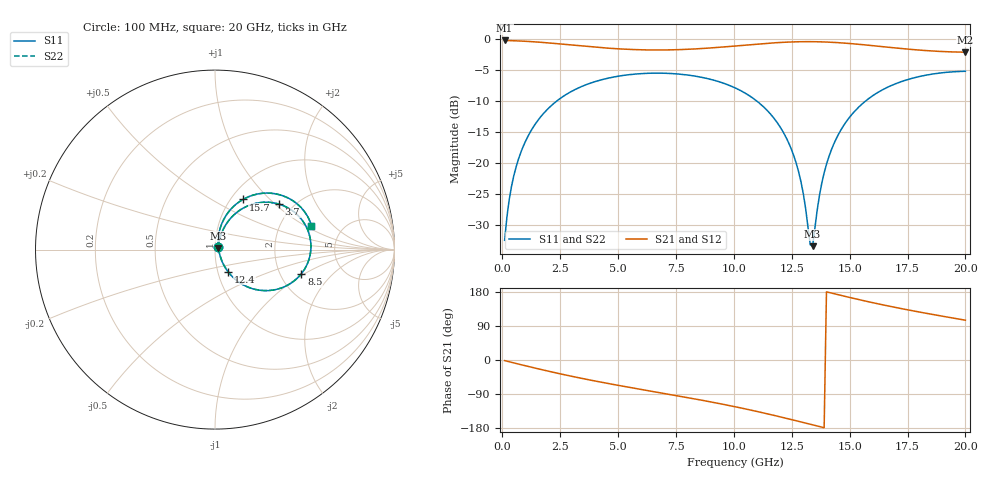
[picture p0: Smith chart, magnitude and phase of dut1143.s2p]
! Touchstone file exported from HFSS 2026.1.0
!  File:  C:/ffzhzh/LocalFiles/Ansys_Project_Files/temp_train_TSV_RDL_1143_1783309664_5512.aedt
!  Generated:  11:57:24 AM Jul  6, 2026
!  Design:  TSV_RDL
!  Project:  temp_train_TSV_RDL_1143_1783309664_5512
! Variables:
!  h_bsmrdl = 4.97um
!  h_ox = 20um
!  h_rdl = 5um
!  h_sub = 85.12um
!  h_tmrdl = 3.42um
!  h_tsv = 85.12um
!  h_via = 3um
!  l_bsmrdl = 177.04um
!  l_sub = 4128.35um
!  l_tmrdl = 763.15um
!  m_sub = 200um
!  pitch = 57.85um
!  r_tsv = 13.93um
!  s_tmrdl = 10um
!  w_bsmrdl = 27.67um
!  w_sub = 500um
!  w_tmrdl = 20.54um
!  x_tsv_center1 = 773.42um
!  x_tsv_center2 = 978.13um
!  x_tsv_center3 = 1761.82um
!  x_tsv_center4 = 1966.53um
!  x_tsv_center5 = 2750.22um
!  x_tsv_center6 = 2954.93um
# GHz S MA R 50.000000
! Terminal data exported
! Port[1] = TM_RDL1_1_T1
! Port[2] = TM_RDL5_1_T1
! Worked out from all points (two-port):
!   200 points, 100 MHz to 20 GHz, reference 50 ohm
!   highest |S21| = -0.16 dB at 100 MHz (marker M1); lowest = -2.0 dB at 20 GHz (marker M2)
!   |S21| within 3 dB of the highest: start of sweep to end of sweep
!   lowest |S11| = -33.4 dB at 13.4 GHz (marker M3), VSWR 1.04, Z = 52 + j0.964 ohm
!   |S11| at or under -10 dB: start of sweep to 2.33 GHz; 11.01 GHz to 15.67 GHz (4.655 GHz wide, 34.9 % of centre)
!   |S22| runs from -33.2 to -5.1 dB; largest |S21 - S12| = 1.7e-14
!   S11 on the Smith chart (normalised r, x): 100 MHz: 1.04, +0.03; 3.7 GHz: 1.69, +1.06; 8.5 GHz: 2.61, -0.94; 12.4 GHz: 1.12, -0.28; 15.7 GHz: 1.14, +0.71; 20 GHz: 2.99, +1.16
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0.1  0.02393 41.2  0.9823 -1.6  0.9823 -1.6  0.02393 41.2
! Gamma 0 0 0 0
! Port Impedance 50 0 50 0
0.3  0.05118 63.5  0.9798 -4.7  0.9798 -4.7  0.05118 63.5
0.5  0.0799 67.6  0.9768 -7.8  0.9768 -7.8  0.0799 67.6
1.1  0.1642 65.7  0.965 -16.7  0.965 -16.7  0.1642 65.7
2.1  0.2907 54.6  0.9347 -31.1  0.9347 -31.1  0.2907 54.6
3.5  0.4229 37.7  0.8838 -49.3  0.8838 -49.3  0.4229 37.7
3.7  0.4372 35.4  0.877 -51.8  0.877 -51.8  0.4372 35.4
5.3  0.515 17.8  0.8351 -70.1  0.8351 -70.1  0.515 17.8
6.8  0.535 2.2  0.8228 -86.3  0.8228 -86.3  0.535 2.2
8.5  0.4997 -15.6  0.8427 -104.8  0.8427 -104.8  0.4996 -15.6
10.1  0.4031 -33.7  0.888 -123.9  0.888 -123.9  0.4031 -33.6
11.5  0.2603 -50.5  0.9334 -142.8  0.9334 -142.8  0.2603 -50.4
12.4  0.1419 -59.5  0.954 -155.9  0.954 -155.9  0.1419 -59.4
12.9  0.07093 -58.5  0.9597 -163.4  0.9597 -163.4  0.07101 -58.1
13.3  0.02201 -13.3  0.9605 -169.5  0.9605 -169.5  0.0224 -12.7
13.4  0.02146 25.6  0.9602 -171.1  0.9602 -171.1  0.02189 25.4
13.8  0.06957 74.4  0.9568 -177.1  0.9568 -177.1  0.06974 74.1
14.2  0.1268 76.3  0.95 176.8  0.95 176.8  0.1269 76.1
14.8  0.2098 71.3  0.9347 168.0  0.9347 168.0  0.2099 71.2
15.7  0.32 60.8  0.9034 155.2  0.9034 155.2  0.32 60.8
16.7  0.4168 49.0  0.8648 142.2  0.8648 142.2  0.4169 48.9
20  0.5538 14.0  0.7902 105.0  0.7902 105.0  0.5539 14.0
